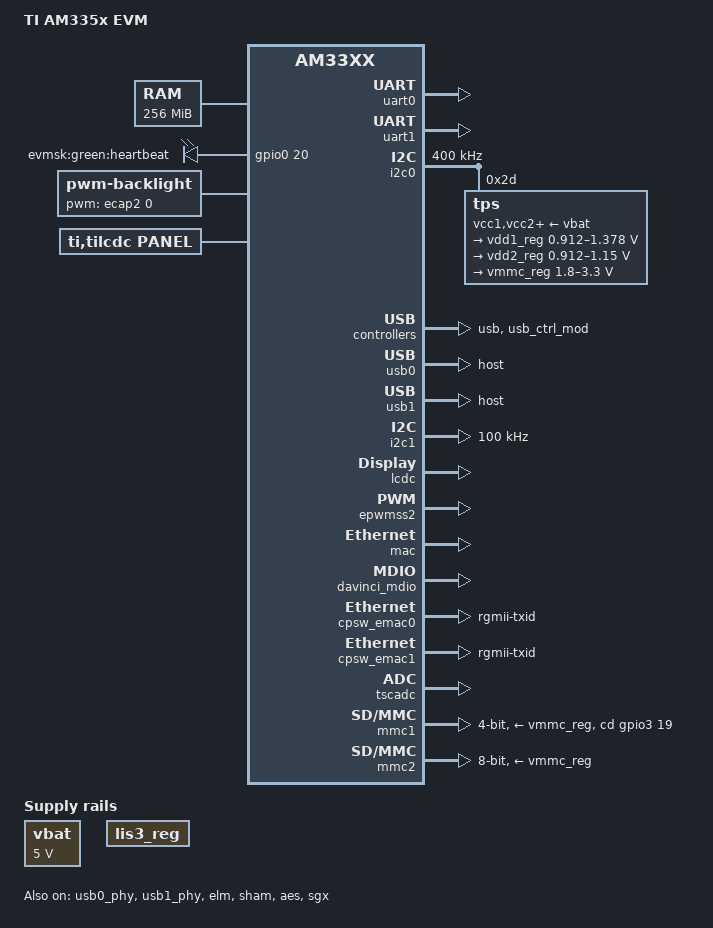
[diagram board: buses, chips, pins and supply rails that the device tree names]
/*
 * Copyright (C) 2012 Texas Instruments Incorporated - http://www.ti.com/
 *
 * This program is free software; you can redistribute it and/or modify
 * it under the terms of the GNU General Public License version 2 as
 * published by the Free Software Foundation.
 */
/dts-v1/;

#include "am33xx.dtsi"
#include <dt-bindings/interrupt-controller/irq.h>

/ {
	model = "TI AM335x EVM";
	compatible = "ti,am335x-evm", "ti,am33xx";

	cpus {
		cpu@0 {
			cpu0-supply = <&vdd1_reg>;
		};
	};

	memory {
		device_type = "memory";
		reg = <0x80000000 0x10000000>; /* 256 MB */
	};

	vbat: fixedregulator@0 {
		compatible = "regulator-fixed";
		regulator-name = "vbat";
		regulator-min-microvolt = <5000000>;
		regulator-max-microvolt = <5000000>;
		regulator-boot-on;
	};

	lis3_reg: fixedregulator@1 {
		compatible = "regulator-fixed";
		regulator-name = "lis3_reg";
		regulator-boot-on;
	};


	leds {
                pinctrl-names = "default";
                pinctrl-0 = <&user_leds_s0>;

                compatible = "gpio-leds";

                led@1 {
                        label = "evmsk:green:heartbeat";
                        gpios = <&gpio0 20 GPIO_ACTIVE_HIGH>;
                        linux,default-trigger = "heartbeat";
                        default-state = "on";
                };
        };


	backlight {
		compatible = "pwm-backlight";
		pwms = <&ecap2 0 50000 0>;
		brightness-levels = <0 51 53 56 62 75 101 152 255>;
		default-brightness-level = <8>;
	};

	panel {
		compatible = "ti,tilcdc,panel";
		status = "okay";
		panel-info {
			ac-bias           = <255>;
			ac-bias-intrpt    = <0>;
			dma-burst-sz      = <16>;
			bpp               = <16>;
			fdd               = <0x80>;
			sync-edge         = <0>;
			sync-ctrl         = <1>;
			raster-order      = <0>;
			fifo-th           = <0>;
		};

		display-timings {
			800x480p62 {
				clock-frequency = <30000000>;
				hactive = <800>;
				vactive = <480>;
				hfront-porch = <39>;
				hback-porch = <39>;
				hsync-len = <47>;
				vback-porch = <29>;
				vfront-porch = <13>;
				vsync-len = <2>;
				hsync-active = <1>;
				vsync-active = <1>;
			};
		};
	};

};

&am33xx_pinmux {
	pinctrl-names = "default";
	pinctrl-0 = < >;


	i2c0_pins: pinmux_i2c0_pins {
		pinctrl-single,pins = <
			0x188 (PIN_INPUT_PULLUP | MUX_MODE0)	/* i2c0_sda.i2c0_sda */
			0x18c (PIN_INPUT_PULLUP | MUX_MODE0)	/* i2c0_scl.i2c0_scl */
		>;
	};

	i2c1_pins_default: pinmux_i2c1_pins {
		pinctrl-single,pins = <
			0x158 (PIN_INPUT_PULLUP | MUX_MODE2)	/* spi0_d1.i2c1_sda */
			0x15c (PIN_INPUT_PULLUP | MUX_MODE2)	/* spi0_cs0.i2c1_scl */
		>;
	};

	i2c1_pins_sleep: i2c1_pins_sleep {
		pinctrl-single,pins = <
			0x158 (PIN_INPUT_PULLDOWN | MUX_MODE7)	/* spi0_d1.i2c1_sda */
			0x15c (PIN_INPUT_PULLDOWN | MUX_MODE7)	/* spi0_cs0.i2c1_scl */
		>;
	};

	uart0_pins: pinmux_uart0_pins {
		pinctrl-single,pins = <
			0x170 (PIN_INPUT_PULLUP | MUX_MODE0)	/* uart0_rxd.uart0_rxd */
			0x174 (PIN_OUTPUT_PULLDOWN | MUX_MODE0)	/* uart0_txd.uart0_txd */
		>;
	};

	uart1_pins_default: pinmux_uart1_pins_default {
		pinctrl-single,pins = <
			0x178 (PIN_INPUT | MUX_MODE0)			/* uart1_ctsn.uart1_ctsn */
			0x17C (PIN_OUTPUT_PULLDOWN | MUX_MODE0)	/* uart1_rtsn.uart1_rtsn */
			0x180 (PIN_INPUT_PULLUP | MUX_MODE0)	/* uart1_rxd.uart1_rxd */
			0x184 (PIN_OUTPUT_PULLDOWN | MUX_MODE0) 	/* uart1_txd.uart1_txd */
		>;
	};

	uart1_pins_sleep: pinmux_uart1_pins_sleep {
		pinctrl-single,pins = <
			0x178 (PIN_INPUT_PULLDOWN | MUX_MODE7)
			0x17C (PIN_INPUT_PULLDOWN | MUX_MODE7)
			0x180 (PIN_INPUT_PULLDOWN | MUX_MODE7)
			0x184 (PIN_INPUT_PULLDOWN | MUX_MODE7)
		>;
	};


	ecap2_pins_default: backlight_pins {
		pinctrl-single,pins = <
			0x19c 0x04	/* eCAP0_in_PWM0_out.eCAP0_in_PWM0_out MODE0 */
		>;
	};

	ecap2_pins_sleep: ecap2_pins_sleep {
		pinctrl-single,pins = <
			0x19c  (PIN_INPUT_PULLDOWN | MUX_MODE7)	/* eCAP0_in_PWM0_out.eCAP0_in_PWM0_out */
		>;
	};

	cpsw_default: cpsw_default {
		pinctrl-single,pins = <
			/* Slave 1 */
			0x114 (PIN_OUTPUT_PULLDOWN | MUX_MODE2)	/* mii1_txen.rgmii1_tctl */
			0x118 (PIN_INPUT_PULLDOWN | MUX_MODE2)	/* mii1_rxdv.rgmii1_rctl */
			0x11c (PIN_OUTPUT_PULLDOWN | MUX_MODE2)	/* mii1_txd3.rgmii1_td3 */
			0x120 (PIN_OUTPUT_PULLDOWN | MUX_MODE2)	/* mii1_txd2.rgmii1_td2 */
			0x124 (PIN_OUTPUT_PULLDOWN | MUX_MODE2)	/* mii1_txd1.rgmii1_td1 */
			0x128 (PIN_OUTPUT_PULLDOWN | MUX_MODE2)	/* mii1_txd0.rgmii1_td0 */
			0x12c (PIN_OUTPUT_PULLDOWN | MUX_MODE2)	/* mii1_txclk.rgmii1_tclk */
			0x130 (PIN_INPUT_PULLDOWN | MUX_MODE2)	/* mii1_rxclk.rgmii1_rclk */
			0x134 (PIN_INPUT_PULLDOWN | MUX_MODE2)	/* mii1_rxd3.rgmii1_rd3 */
			0x138 (PIN_INPUT_PULLDOWN | MUX_MODE2)	/* mii1_rxd2.rgmii1_rd2 */
			0x13c (PIN_INPUT_PULLDOWN | MUX_MODE2)	/* mii1_rxd1.rgmii1_rd1 */
			0x140 (PIN_INPUT_PULLDOWN | MUX_MODE2)	/* mii1_rxd0.rgmii1_rd0 */
		>;
	};

	cpsw_sleep: cpsw_sleep {
		pinctrl-single,pins = <
			/* Slave 1 reset value */
			0x114 (PIN_INPUT_PULLDOWN | MUX_MODE7)
			0x118 (PIN_INPUT_PULLDOWN | MUX_MODE7)
			0x11c (PIN_INPUT_PULLDOWN | MUX_MODE7)
			0x120 (PIN_INPUT_PULLDOWN | MUX_MODE7)
			0x124 (PIN_INPUT_PULLDOWN | MUX_MODE7)
			0x128 (PIN_INPUT_PULLDOWN | MUX_MODE7)
			0x12c (PIN_INPUT_PULLDOWN | MUX_MODE7)
			0x130 (PIN_INPUT_PULLDOWN | MUX_MODE7)
			0x134 (PIN_INPUT_PULLDOWN | MUX_MODE7)
			0x138 (PIN_INPUT_PULLDOWN | MUX_MODE7)
			0x13c (PIN_INPUT_PULLDOWN | MUX_MODE7)
			0x140 (PIN_INPUT_PULLDOWN | MUX_MODE7)
		>;
	};

	davinci_mdio_default: davinci_mdio_default {
		pinctrl-single,pins = <
			/* MDIO */
			0x148 (PIN_INPUT_PULLUP | SLEWCTRL_FAST | MUX_MODE0)	/* mdio_data.mdio_data */
			0x14c (PIN_OUTPUT_PULLUP | MUX_MODE0)			/* mdio_clk.mdio_clk */
		>;
	};

	davinci_mdio_sleep: davinci_mdio_sleep {
		pinctrl-single,pins = <
			/* MDIO reset value */
			0x148 (PIN_INPUT_PULLDOWN | MUX_MODE7)
			0x14c (PIN_INPUT_PULLDOWN | MUX_MODE7)
		>;
	};

	mmc1_pins_default: pinmux_mmc1_pins {
		pinctrl-single,pins = <
			0x0F0 (PIN_INPUT_PULLUP | MUX_MODE0)    /* mmc0_dat3.mmc0_dat3 */
			0x0F4 (PIN_INPUT_PULLUP | MUX_MODE0)    /* mmc0_dat2.mmc0_dat2 */
			0x0F8 (PIN_INPUT_PULLUP | MUX_MODE0)    /* mmc0_dat1.mmc0_dat1 */
			0x0FC (PIN_INPUT_PULLUP | MUX_MODE0)    /* mmc0_dat0.mmc0_dat0 */
			0x100 (PIN_INPUT_PULLUP | MUX_MODE0)    /* mmc0_clk.mmc0_clk */
			0x104 (PIN_INPUT_PULLUP | MUX_MODE0)    /* mmc0_cmd.mmc0_cmd */
			0x1A4 (PIN_INPUT_PULLUP | MUX_MODE7)    /* mcasp0_fsr.gpio3_19 */
		>;
	};

	mmc1_pins_sleep: pinmux_mmc1_pins_sleep {
		pinctrl-single,pins = <
			0x0F0 (PIN_INPUT_PULLDOWN | MUX_MODE7)
			0x0F4 (PIN_INPUT_PULLDOWN | MUX_MODE7)
			0x0F8 (PIN_INPUT_PULLDOWN | MUX_MODE7)
			0x0FC (PIN_INPUT_PULLDOWN | MUX_MODE7)
			0x100 (PIN_INPUT_PULLDOWN | MUX_MODE7)
			0x104 (PIN_INPUT_PULLDOWN | MUX_MODE7)
			0x1A4 (PIN_INPUT_PULLDOWN | MUX_MODE7)
		>;
	};


	mmc2_pins_default: pinmux_mmc2_pins {
                pinctrl-single,pins = <
                        0x000 (PIN_INPUT_PULLUP | MUX_MODE1)    /* gpmc_ad0.mmc1_dat0 */
                        0x004 (PIN_INPUT_PULLUP | MUX_MODE1)    /* gpmc_ad1.mmc1_dat1 */
                        0x008 (PIN_INPUT_PULLUP | MUX_MODE1)    /* gpmc_ad2.mmc1_dat2 */
                        0x00c (PIN_INPUT_PULLUP | MUX_MODE1)    /* gpmc_ad3.mmc1_dat3 */
                        0x010 (PIN_INPUT_PULLUP | MUX_MODE1)    /* gpmc_ad4.mmc1_dat4 */
                        0x014 (PIN_INPUT_PULLUP | MUX_MODE1)    /* gpmc_ad5.mmc1_dat5 */
                        0x018 (PIN_INPUT_PULLUP | MUX_MODE1)    /* gpmc_ad6.mmc1_dat6 */
                        0x01c (PIN_INPUT_PULLUP | MUX_MODE1)    /* gpmc_ad7.mmc1_dat7 */
                >;
        };

        mmc2_pins_sleep: pinmux_mmc2_pins_sleep {
                pinctrl-single,pins = <
                        0x000 (PIN_INPUT_PULLDOWN | MUX_MODE1)    /* gpmc_ad0.mmc1_dat0 */
                        0x004 (PIN_INPUT_PULLDOWN | MUX_MODE1)    /* gpmc_ad1.mmc1_dat1 */
                        0x008 (PIN_INPUT_PULLDOWN | MUX_MODE1)    /* gpmc_ad2.mmc1_dat2 */
                        0x00c (PIN_INPUT_PULLDOWN | MUX_MODE1)    /* gpmc_ad3.mmc1_dat3 */
                        0x010 (PIN_INPUT_PULLDOWN | MUX_MODE1)    /* gpmc_ad4.mmc1_dat4 */
                        0x014 (PIN_INPUT_PULLDOWN | MUX_MODE1)    /* gpmc_ad5.mmc1_dat5 */
                        0x018 (PIN_INPUT_PULLDOWN | MUX_MODE1)    /* gpmc_ad6.mmc1_dat6 */
                        0x01c (PIN_INPUT_PULLDOWN | MUX_MODE1)    /* gpmc_ad7.mmc1_dat7 */
                >;
        };


	lcd_pins_default: lcd_pins_default {
		pinctrl-single,pins = <
			0xa0 (PIN_OUTPUT | MUX_MODE0)		/* lcd_data0.lcd_data0 */
			0xa4 (PIN_OUTPUT | MUX_MODE0)		/* lcd_data1.lcd_data1 */
			0xa8 (PIN_OUTPUT | MUX_MODE0)		/* lcd_data2.lcd_data2 */
			0xac (PIN_OUTPUT | MUX_MODE0)		/* lcd_data3.lcd_data3 */
			0xb0 (PIN_OUTPUT | MUX_MODE0)		/* lcd_data4.lcd_data4 */
			0xb4 (PIN_OUTPUT | MUX_MODE0)		/* lcd_data5.lcd_data5 */
			0xb8 (PIN_OUTPUT | MUX_MODE0)		/* lcd_data6.lcd_data6 */
			0xbc (PIN_OUTPUT | MUX_MODE0)		/* lcd_data7.lcd_data7 */
			0xc0 (PIN_OUTPUT | MUX_MODE0)		/* lcd_data8.lcd_data8 */
			0xc4 (PIN_OUTPUT | MUX_MODE0)		/* lcd_data9.lcd_data9 */
			0xc8 (PIN_OUTPUT | MUX_MODE0)		/* lcd_data10.lcd_data10 */
			0xcc (PIN_OUTPUT | MUX_MODE0)		/* lcd_data11.lcd_data11 */
			0xd0 (PIN_OUTPUT | MUX_MODE0)		/* lcd_data12.lcd_data12 */
			0xd4 (PIN_OUTPUT | MUX_MODE0)		/* lcd_data13.lcd_data13 */
			0xd8 (PIN_OUTPUT | MUX_MODE0)		/* lcd_data14.lcd_data14 */
			0xdc (PIN_OUTPUT | MUX_MODE0)		/* lcd_data15.lcd_data15 */
			0xe0 (PIN_OUTPUT | MUX_MODE0)		/* lcd_vsync.lcd_vsync */
			0xe4 (PIN_OUTPUT | MUX_MODE0)		/* lcd_hsync.lcd_hsync */
			0xe8 (PIN_OUTPUT | MUX_MODE0)		/* lcd_pclk.lcd_pclk */
			0xec (PIN_OUTPUT | MUX_MODE0)		/* lcd_ac_bias_en.lcd_ac_bias_en */
		>;
	};

	lcd_pins_sleep: lcd_pins_sleep {
		pinctrl-single,pins = <
			0xa0 (PULL_DISABLE | MUX_MODE7)		/* lcd_data0.lcd_data0 */
			0xa4 (PULL_DISABLE | MUX_MODE7)		/* lcd_data1.lcd_data1 */
			0xa8 (PULL_DISABLE | MUX_MODE7)		/* lcd_data2.lcd_data2 */
			0xac (PULL_DISABLE | MUX_MODE7)		/* lcd_data3.lcd_data3 */
			0xb0 (PULL_DISABLE | MUX_MODE7)		/* lcd_data4.lcd_data4 */
			0xb4 (PULL_DISABLE | MUX_MODE7)		/* lcd_data5.lcd_data5 */
			0xb8 (PULL_DISABLE | MUX_MODE7)		/* lcd_data6.lcd_data6 */
			0xbc (PULL_DISABLE | MUX_MODE7)		/* lcd_data7.lcd_data7 */
			0xc0 (PULL_DISABLE | MUX_MODE7)		/* lcd_data8.lcd_data8 */
			0xc4 (PULL_DISABLE | MUX_MODE7)		/* lcd_data9.lcd_data9 */
			0xc8 (PULL_DISABLE | MUX_MODE7)		/* lcd_data10.lcd_data10 */
			0xcc (PULL_DISABLE | MUX_MODE7)		/* lcd_data11.lcd_data11 */
			0xd0 (PULL_DISABLE | MUX_MODE7)		/* lcd_data12.lcd_data12 */
			0xd4 (PULL_DISABLE | MUX_MODE7)		/* lcd_data13.lcd_data13 */
			0xd8 (PULL_DISABLE | MUX_MODE7)		/* lcd_data14.lcd_data14 */
			0xdc (PULL_DISABLE | MUX_MODE7)		/* lcd_data15.lcd_data15 */
			0xe0 (PIN_INPUT_PULLDOWN | MUX_MODE7)	/* lcd_vsync.lcd_vsync, OUTPUT | MODE0 */
			0xe4 (PIN_INPUT_PULLDOWN | MUX_MODE7)	/* lcd_hsync.lcd_hsync */
			0xe8 (PIN_INPUT_PULLDOWN | MUX_MODE7)	/* lcd_pclk.lcd_pclk */
			0xec (PIN_INPUT_PULLDOWN | MUX_MODE7)	/* lcd_ac_bias_en.lcd_ac_bias_en */
		>;
	};

	user_leds_s0: user_leds_s0 {
                pinctrl-single,pins = <
                        0x1b4 (PIN_OUTPUT_PULLDOWN | MUX_MODE7)  /* gpmc_ad4.gpio1_4 */
                >;
        };

	dcan1_pins_default: dcan1_pins_default {
		pinctrl-single,pins = <
			0x168 (PIN_OUTPUT | MUX_MODE2) /* uart0_ctsn.d_can1_tx */
			0x16c (PIN_INPUT_PULLDOWN | MUX_MODE2) /* uart0_rtsn.d_can1_rx */
		>;
	};
};

&uart0 {
	pinctrl-names = "default";
	pinctrl-0 = <&uart0_pins>;

	status = "okay";
};

&uart1 {
	pinctrl-names = "default", "sleep";
	pinctrl-0 = <&uart1_pins_default>;
	pinctrl-1 = <&uart1_pins_sleep>;

	status = "okay";
};

&i2c0 {
	pinctrl-names = "default";
	pinctrl-0 = <&i2c0_pins>;

	status = "okay";
	clock-frequency = <400000>;

	tps: tps@2d {
		reg = <0x2d>;
	};
};

&usb {
	status = "okay";
};

&usb_ctrl_mod {
	status = "okay";
};

&usb0_phy {
	status = "okay";
};

&usb1_phy {
	status = "okay";
};

&usb0 {
	status = "okay";
	dr_mode = "host";
};

&usb1 {
	status = "okay";
	dr_mode = "host";
};

&cppi41dma  {
	status = "okay";
};

&i2c1 {
	pinctrl-names = "default", "sleep";
	pinctrl-0 = <&i2c1_pins_default>;
	pinctrl-1 = <&i2c1_pins_sleep>;

	status = "okay";
	clock-frequency = <100000>;

};

&lcdc {
	status = "okay";
	pinctrl-names = "default", "sleep";
	pinctrl-0 = <&lcd_pins_default>;
	pinctrl-1 = <&lcd_pins_sleep>;
};

&elm {
	status = "okay";
};


&epwmss2 {
	status = "okay";

	ecap2: ecap@48304100 {
		status = "okay";
		pinctrl-names = "default", "sleep";
		pinctrl-0 = <&ecap2_pins_default>;
		pinctrl-1 = <&ecap2_pins_sleep>;
	};
};


#include "tps65910.dtsi"


&tps {
	vcc1-supply = <&vbat>;
	vcc2-supply = <&vbat>;
	vcc3-supply = <&vbat>;
	vcc4-supply = <&vbat>;
	vcc5-supply = <&vbat>;
	vcc6-supply = <&vbat>;
	vcc7-supply = <&vbat>;
	vccio-supply = <&vbat>;

	regulators {
		vrtc_reg: regulator@0 {
			regulator-always-on;
		};

		vio_reg: regulator@1 {
			regulator-always-on;
		};

		vdd1_reg: regulator@2 {
			/* VDD_MPU voltage limits 0.95V - 1.325V with +/-4% tolerance */
			regulator-name = "vdd_mpu";
			regulator-min-microvolt = <912500>;
			regulator-max-microvolt = <1378000>;
			regulator-boot-on;
			regulator-always-on;
		};

		vdd2_reg: regulator@3 {
			/* VDD_CORE voltage limits 0.95V - 1.1V with +/-4% tolerance */
			regulator-name = "vdd_core";
			regulator-min-microvolt = <912500>;
			regulator-max-microvolt = <1150000>;
			regulator-boot-on;
			regulator-always-on;
		};

		vdd3_reg: regulator@4 {
			regulator-always-on;
		};

		vdig1_reg: regulator@5 {
			regulator-always-on;
		};

		vdig2_reg: regulator@6 {
			regulator-always-on;
		};

		vpll_reg: regulator@7 {
			regulator-always-on;
		};

		vdac_reg: regulator@8 {
			regulator-always-on;
		};

		vaux1_reg: regulator@9 {
			regulator-always-on;
		};

		vaux2_reg: regulator@10 {
			regulator-always-on;
		};

		vaux33_reg: regulator@11 {
			regulator-always-on;
		};

		vmmc_reg: regulator@12 {
			regulator-min-microvolt = <1800000>;
			regulator-max-microvolt = <3300000>;
			regulator-always-on;
		};
	};
};

&mac {
	pinctrl-names = "default", "sleep";
	pinctrl-0 = <&cpsw_default>;
	pinctrl-1 = <&cpsw_sleep>;
	status = "okay";
};

&davinci_mdio {
	pinctrl-names = "default", "sleep";
	pinctrl-0 = <&davinci_mdio_default>;
	pinctrl-1 = <&davinci_mdio_sleep>;
	status = "okay";
};

&cpsw_emac0 {
	phy_id = <&davinci_mdio>, <4>;
	phy-mode = "rgmii-txid";
};

&cpsw_emac1 {
	phy_id = <&davinci_mdio>, <1>;
	phy-mode = "rgmii-txid";
};

&tscadc {
	status = "okay";
	tsc {
		ti,wires = <4>;
		ti,x-plate-resistance = <200>;
		ti,coordinate-readouts = <5>;
		ti,wire-config = <0x00 0x11 0x22 0x33>;
	};
	adc {
		ti,adc-channels = <4>;
	};

};

&mmc1 {
	status = "okay";
	vmmc-supply = <&vmmc_reg>;
	bus-width = <4>;
	pinctrl-names = "default", "sleep";
	pinctrl-0 = <&mmc1_pins_default>;
	pinctrl-1 = <&mmc1_pins_sleep>;
	cd-gpios = <&gpio3 19 GPIO_ACTIVE_HIGH>;
};



&mmc2 {
        status = "okay";
        vmmc-supply = <&vmmc_reg>;
        bus-width = <8>;
        pinctrl-names = "default", "sleep";
        pinctrl-0 = <&mmc2_pins_default>;
        pinctrl-1 = <&mmc2_pins_sleep>;
        ti,non-removable;
};


&sham {
	status = "okay";
};

&aes {
	status = "okay";
};

&dcan1 {
	status = "disabled";	/* Enable only if Profile 1 is selected */
	pinctrl-names = "default";
	pinctrl-0 = <&dcan1_pins_default>;
};

&wkup_m3_ipc {
	ti,scale-data-fw = "am335x-evm-scale-data.bin";
};

&rtc {
	system-power-controller;
};

&sgx {
	status = "okay";
};
